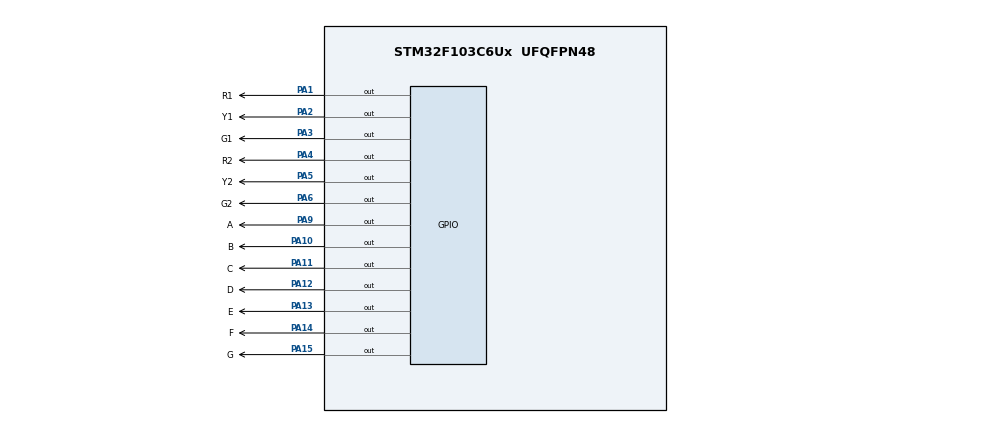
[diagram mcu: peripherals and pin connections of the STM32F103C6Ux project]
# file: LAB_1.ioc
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Mcu.Family=STM32F1
Mcu.Name=STM32F103C6Ux
Mcu.Package=UFQFPN48
NVIC.PriorityGroup=NVIC_PRIORITYGROUP_4
PA1.GPIO_Label=R1
PA1.Signal=GPIO_Output
PA10.GPIO_Label=B
PA10.Signal=GPIO_Output
PA11.GPIO_Label=C
PA11.Signal=GPIO_Output
PA12.GPIO_Label=D
PA12.Signal=GPIO_Output
PA13.GPIO_Label=E
PA13.Signal=GPIO_Output
PA14.GPIO_Label=F
PA14.Signal=GPIO_Output
PA15.GPIO_Label=G
PA15.Signal=GPIO_Output
PA2.GPIO_Label=Y1
PA2.Signal=GPIO_Output
PA3.GPIO_Label=G1
PA3.Signal=GPIO_Output
PA4.GPIO_Label=R2
PA4.Signal=GPIO_Output
PA5.GPIO_Label=Y2
PA5.Signal=GPIO_Output
PA6.GPIO_Label=G2
PA6.Signal=GPIO_Output
PA9.GPIO_Label=A
PA9.Signal=GPIO_Output
ProjectManager.HeapSize=0x200
ProjectManager.StackSize=0x400
ProjectManager.TargetToolchain=STM32CubeIDE
RCC.APB1Freq_Value=8000000
RCC.APB2Freq_Value=8000000
VP_SYS_VS_ND.Mode=No_Debug
board=custom

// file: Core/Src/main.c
/* USER CODE BEGIN Header */
/**
  ******************************************************************************
  * @file           : main.c
  * @brief          : Main program body
  ******************************************************************************
  * @attention
  *
  * <h2><center>&copy; Copyright (c) 2023 STMicroelectronics.
  * All rights reserved.</center></h2>
  *
  * This software component is licensed by ST under BSD 3-Clause license,
  * the "License"; You may not use this file except in compliance with the
  * License. You may obtain a copy of the License at:
  *                        opensource.org/licenses/BSD-3-Clause
  *
  ******************************************************************************
  */
/* USER CODE END Header */
#include "main.h"

void SystemClock_Config(void);
static void MX_GPIO_Init(void);

int main(void)
{

  /* MCU Configuration--------------------------------------------------------*/

  /* Reset of all peripherals, Initializes the Flash interface and the Systick. */
  HAL_Init();

  /* Configure the system clock */
  SystemClock_Config();

  /* Initialize all configured peripherals */
  MX_GPIO_Init();

  /* Infinite loop */
  /* USER CODE BEGIN WHILE */

  void display7SEG(int num){
  	  switch(num){
  	  case 0:
		  HAL_GPIO_WritePin(A_GPIO_Port, A_Pin, RESET);
		  HAL_GPIO_WritePin(B_GPIO_Port, B_Pin, RESET);
		  HAL_GPIO_WritePin(C_GPIO_Port, C_Pin, RESET);
		  HAL_GPIO_WritePin(D_GPIO_Port, D_Pin, RESET);
		  HAL_GPIO_WritePin(E_GPIO_Port, E_Pin, RESET);
		  HAL_GPIO_WritePin(F_GPIO_Port, F_Pin, RESET);
		  HAL_GPIO_WritePin(G_GPIO_Port, G_Pin, SET);
		  break;
  	  case 1:
		  HAL_GPIO_WritePin(A_GPIO_Port, A_Pin, SET);
		  HAL_GPIO_WritePin(B_GPIO_Port, B_Pin, RESET);
		  HAL_GPIO_WritePin(C_GPIO_Port, C_Pin, RESET);
		  HAL_GPIO_WritePin(D_GPIO_Port, D_Pin, SET);
		  HAL_GPIO_WritePin(E_GPIO_Port, E_Pin, SET);
		  HAL_GPIO_WritePin(F_GPIO_Port, F_Pin, SET);
		  HAL_GPIO_WritePin(G_GPIO_Port, G_Pin, SET);
		  break;
  	  case 2:
		  HAL_GPIO_WritePin(A_GPIO_Port, A_Pin, RESET);
		  HAL_GPIO_WritePin(B_GPIO_Port, B_Pin, RESET);
		  HAL_GPIO_WritePin(C_GPIO_Port, C_Pin, SET);
		  HAL_GPIO_WritePin(D_GPIO_Port, D_Pin, RESET);
		  HAL_GPIO_WritePin(E_GPIO_Port, E_Pin, RESET);
		  HAL_GPIO_WritePin(F_GPIO_Port, F_Pin, SET);
		  HAL_GPIO_WritePin(G_GPIO_Port, G_Pin, RESET);
		  break;
  	  case 3:
		  HAL_GPIO_WritePin(A_GPIO_Port, A_Pin, RESET);
		  HAL_GPIO_WritePin(B_GPIO_Port, B_Pin, RESET);
		  HAL_GPIO_WritePin(C_GPIO_Port, C_Pin, RESET);
		  HAL_GPIO_WritePin(D_GPIO_Port, D_Pin, RESET);
		  HAL_GPIO_WritePin(E_GPIO_Port, E_Pin, SET);
		  HAL_GPIO_WritePin(F_GPIO_Port, F_Pin, SET);
		  HAL_GPIO_WritePin(G_GPIO_Port, G_Pin, RESET);
		  break;

  	  case 4:
		  HAL_GPIO_WritePin(A_GPIO_Port, A_Pin, SET);
		  HAL_GPIO_WritePin(B_GPIO_Port, B_Pin, RESET);
		  HAL_GPIO_WritePin(C_GPIO_Port, C_Pin, RESET);
		  HAL_GPIO_WritePin(D_GPIO_Port, D_Pin, SET);
		  HAL_GPIO_WritePin(E_GPIO_Port, E_Pin, SET);
		  HAL_GPIO_WritePin(F_GPIO_Port, F_Pin, RESET);
		  HAL_GPIO_WritePin(G_GPIO_Port, G_Pin, RESET);
		  break;
  	  case 5:
		  HAL_GPIO_WritePin(A_GPIO_Port, A_Pin, RESET);
		  HAL_GPIO_WritePin(B_GPIO_Port, B_Pin, SET);
		  HAL_GPIO_WritePin(C_GPIO_Port, C_Pin, RESET);
		  HAL_GPIO_WritePin(D_GPIO_Port, D_Pin, RESET);
		  HAL_GPIO_WritePin(E_GPIO_Port, E_Pin, SET);
		  HAL_GPIO_WritePin(F_GPIO_Port, F_Pin, RESET);
		  HAL_GPIO_WritePin(G_GPIO_Port, G_Pin, RESET);
		  break;
  	  case 6:
		  HAL_GPIO_WritePin(A_GPIO_Port, A_Pin, RESET);
		  HAL_GPIO_WritePin(B_GPIO_Port, B_Pin, SET);
		  HAL_GPIO_WritePin(C_GPIO_Port, C_Pin, RESET);
		  HAL_GPIO_WritePin(D_GPIO_Port, D_Pin, RESET);
		  HAL_GPIO_WritePin(E_GPIO_Port, E_Pin, RESET);
		  HAL_GPIO_WritePin(F_GPIO_Port, F_Pin, RESET);
		  HAL_GPIO_WritePin(G_GPIO_Port, G_Pin, RESET);
		  break;
  	  case 7:
		  HAL_GPIO_WritePin(A_GPIO_Port, A_Pin, RESET);
		  HAL_GPIO_WritePin(B_GPIO_Port, B_Pin, RESET);
		  HAL_GPIO_WritePin(C_GPIO_Port, C_Pin, RESET);
		  HAL_GPIO_WritePin(D_GPIO_Port, D_Pin, SET);
		  HAL_GPIO_WritePin(E_GPIO_Port, E_Pin, SET);
		  HAL_GPIO_WritePin(F_GPIO_Port, F_Pin, SET);
		  HAL_GPIO_WritePin(G_GPIO_Port, G_Pin, SET);
		  break;
  	  case 8:
		  HAL_GPIO_WritePin(A_GPIO_Port, A_Pin, RESET);
		  HAL_GPIO_WritePin(B_GPIO_Port, B_Pin, RESET);
		  HAL_GPIO_WritePin(C_GPIO_Port, C_Pin, RESET);
		  HAL_GPIO_WritePin(D_GPIO_Port, D_Pin, RESET);
		  HAL_GPIO_WritePin(E_GPIO_Port, E_Pin, RESET);
		  HAL_GPIO_WritePin(F_GPIO_Port, F_Pin, RESET);
		  HAL_GPIO_WritePin(G_GPIO_Port, G_Pin, RESET);
		  break;
  	  case 9:
		  HAL_GPIO_WritePin(A_GPIO_Port, A_Pin, RESET);
		  HAL_GPIO_WritePin(B_GPIO_Port, B_Pin, RESET);
		  HAL_GPIO_WritePin(C_GPIO_Port, C_Pin, RESET);
		  HAL_GPIO_WritePin(D_GPIO_Port, D_Pin, RESET);
		  HAL_GPIO_WritePin(E_GPIO_Port, E_Pin, SET);
		  HAL_GPIO_WritePin(F_GPIO_Port, F_Pin, RESET);
		  HAL_GPIO_WritePin(G_GPIO_Port, G_Pin, RESET);
		  break;
  	  default:
  		  	  break;
  	  }
    }

  HAL_GPIO_WritePin(GPIOA, R1_Pin|Y1_Pin|G1_Pin|R2_Pin|Y2_Pin|G2_Pin, SET);

  enum trafficLightState {R1_G2, R1_Y2, R2_G1, R2_Y1};
  enum trafficLightState state = R1_G2;

  int counter = 3;
  int time = 5;

  while (1)
  {
	  display7SEG(time);
	  switch(state){
	  case R1_G2:
		  HAL_GPIO_WritePin(R2_GPIO_Port, R2_Pin, SET);
		  HAL_GPIO_WritePin(Y1_GPIO_Port, Y1_Pin, SET);
		  HAL_GPIO_WritePin(R1_GPIO_Port, R1_Pin, RESET);
		  HAL_GPIO_WritePin(G2_GPIO_Port, G2_Pin, RESET);
		  counter--;
		  time--;
		  if (counter <= 0){
			  state = R1_Y2;
			  counter = 2;
		  }
		  break;
	  case R1_Y2:
		  HAL_GPIO_WritePin(G2_GPIO_Port, G2_Pin, SET);
		  HAL_GPIO_WritePin(Y2_GPIO_Port, Y2_Pin, RESET);
		  counter--;
		  time--;
		  if (counter <= 0){
			  state = R2_G1;
			  counter = 3;
			  time = 3;
		  }
		  break;
	  case R2_G1:
		  HAL_GPIO_WritePin(R1_GPIO_Port, R1_Pin, SET);
		  HAL_GPIO_WritePin(Y2_GPIO_Port, Y2_Pin, SET);
		  HAL_GPIO_WritePin(R2_GPIO_Port, R2_Pin, RESET);
		  HAL_GPIO_WritePin(G1_GPIO_Port, G1_Pin, RESET);
		  counter--;
		  time--;
		  if (counter <= 0){
			  state = R2_Y1;
			  counter = 2;
			  time = 2;
		  }
		  break;
	  case R2_Y1:
		  HAL_GPIO_WritePin(G1_GPIO_Port, G1_Pin, SET);
		  HAL_GPIO_WritePin(Y1_GPIO_Port, Y1_Pin, RESET);
		  counter--;
		  time--;
		  if (counter <= 0){
			  state = R1_G2;
			  counter = 3;
			  time = 5;
		  }
		  break;
	  default:
		  break;
	  }

	  HAL_Delay(1000);

    /* USER CODE END WHILE */

  }
}

void SystemClock_Config(void)
{
  RCC_OscInitTypeDef RCC_OscInitStruct = {0};
  RCC_ClkInitTypeDef RCC_ClkInitStruct = {0};

  /** Initializes the RCC Oscillators according to the specified parameters
  * in the RCC_OscInitTypeDef structure.
  */
  RCC_OscInitStruct.OscillatorType = RCC_OSCILLATORTYPE_HSI;
  RCC_OscInitStruct.HSIState = RCC_HSI_ON;
  RCC_OscInitStruct.HSICalibrationValue = RCC_HSICALIBRATION_DEFAULT;
  RCC_OscInitStruct.PLL.PLLState = RCC_PLL_NONE;
  if (HAL_RCC_OscConfig(&RCC_OscInitStruct) != HAL_OK)
  {
    Error_Handler();
  }
  /** Initializes the CPU, AHB and APB buses clocks
  */
  RCC_ClkInitStruct.ClockType = RCC_CLOCKTYPE_HCLK|RCC_CLOCKTYPE_SYSCLK
                              |RCC_CLOCKTYPE_PCLK1|RCC_CLOCKTYPE_PCLK2;
  RCC_ClkInitStruct.SYSCLKSource = RCC_SYSCLKSOURCE_HSI;
  RCC_ClkInitStruct.AHBCLKDivider = RCC_SYSCLK_DIV1;
  RCC_ClkInitStruct.APB1CLKDivider = RCC_HCLK_DIV1;
  RCC_ClkInitStruct.APB2CLKDivider = RCC_HCLK_DIV1;

  if (HAL_RCC_ClockConfig(&RCC_ClkInitStruct, FLASH_LATENCY_0) != HAL_OK)
  {
    Error_Handler();
  }
}

static void MX_GPIO_Init(void)
{
  GPIO_InitTypeDef GPIO_InitStruct = {0};

  /* GPIO Ports Clock Enable */
  __HAL_RCC_GPIOA_CLK_ENABLE();

  /*Configure GPIO pin Output Level */
  HAL_GPIO_WritePin(GPIOA, R1_Pin|Y1_Pin|G1_Pin|R2_Pin
                          |Y2_Pin|G2_Pin|A_Pin|B_Pin
                          |C_Pin|D_Pin|E_Pin|F_Pin
                          |G_Pin, GPIO_PIN_RESET);

  /*Configure GPIO pins : R1_Pin Y1_Pin G1_Pin R2_Pin
                           Y2_Pin G2_Pin A_Pin B_Pin
                           C_Pin D_Pin E_Pin F_Pin
                           G_Pin */
  GPIO_InitStruct.Pin = R1_Pin|Y1_Pin|G1_Pin|R2_Pin
                          |Y2_Pin|G2_Pin|A_Pin|B_Pin
                          |C_Pin|D_Pin|E_Pin|F_Pin
                          |G_Pin;
  GPIO_InitStruct.Mode = GPIO_MODE_OUTPUT_PP;
  GPIO_InitStruct.Pull = GPIO_NOPULL;
  GPIO_InitStruct.Speed = GPIO_SPEED_FREQ_LOW;
  HAL_GPIO_Init(GPIOA, &GPIO_InitStruct);

}

void Error_Handler(void)
{
  __disable_irq();
  while (1)
  {
  }
}

/************************ (C) COPYRIGHT STMicroelectronics *****END OF FILE****/
